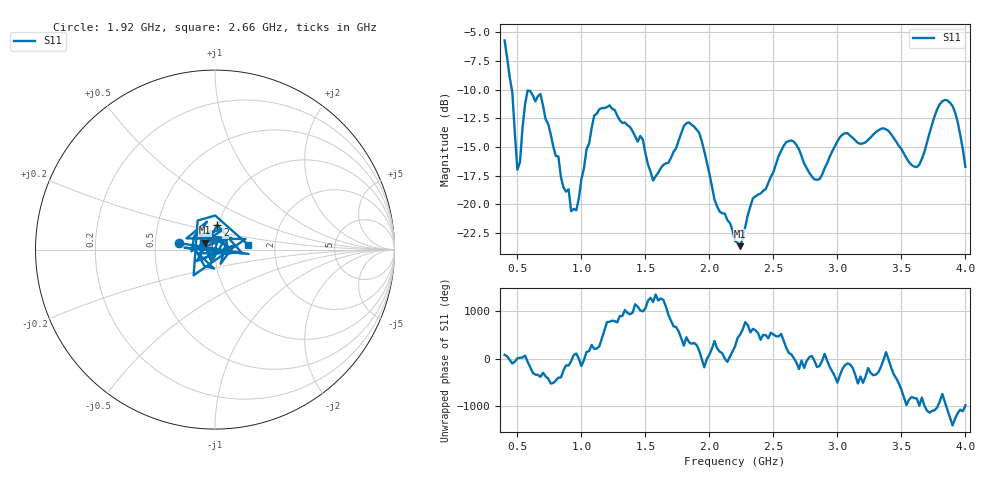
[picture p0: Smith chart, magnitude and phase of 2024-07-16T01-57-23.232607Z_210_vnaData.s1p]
!Created with skrf (http://scikit-rf.org).
# Hz S RI R 50.0
!freq ReS11 ImS11
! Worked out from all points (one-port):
!   181 points, 400 MHz to 4 GHz, reference 50 ohm
!   lowest |S11| = -23.7 dB at 2.24 GHz (marker M1), VSWR 1.14, Z = 44.8 + j3.41 ohm
!   |S11| at or under -10 dB: 456.5 MHz to end of sweep
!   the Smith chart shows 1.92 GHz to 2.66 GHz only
!   S11 on the Smith chart (normalised r, x): 1.92 GHz: 0.66, +0.05; 2 GHz: 0.99, +0.27; 2.66 GHz: 1.45, +0.08
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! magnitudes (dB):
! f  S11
! 400 MHz  -5.7
! 460 MHz  -10.2
! 500 MHz  -17.0
! 580 MHz  -10.1
! 680 MHz  -10.4
! 860 MHz  -18.5
! 960 MHz  -20.5
! 1.1 GHz  -12.3
! 1.22 GHz  -11.4
! 1.3 GHz  -12.7
! 1.48 GHz  -14.4
! 1.56 GHz  -17.9
! 1.76 GHz  -14.4
! 1.82 GHz  -12.9
! 1.92 GHz  -13.8
! 2 GHz  -17.3
! 2.2 GHz  -23.2
! 2.24 GHz  -23.7
! 2.34 GHz  -19.5
! 2.66 GHz  -14.5
! 2.84 GHz  -17.9
! 3.1 GHz  -14.0
! 3.38 GHz  -13.5
! 3.56 GHz  -16.3
! 3.64 GHz  -16.5
! 3.84 GHz  -10.9
! 3.92 GHz  -12.0
! 4 GHz  -16.7
